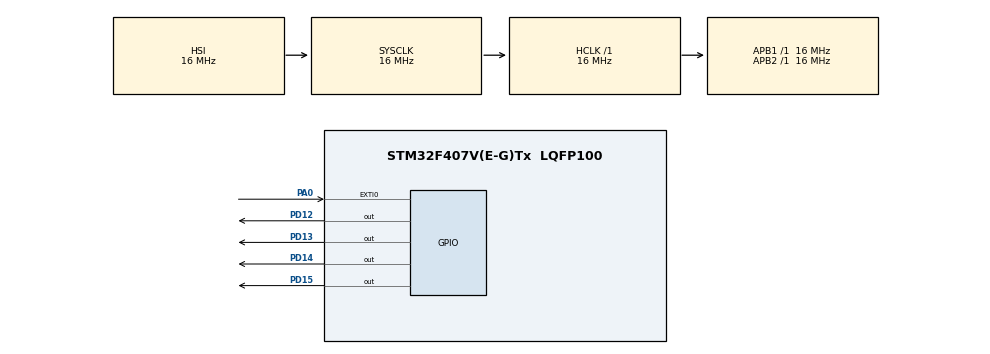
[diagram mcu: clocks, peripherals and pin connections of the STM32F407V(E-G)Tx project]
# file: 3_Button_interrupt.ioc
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Mcu.Family=STM32F4
Mcu.Name=STM32F407V(E-G)Tx
Mcu.Package=LQFP100
NVIC.EXTI0_IRQn=true\:0\:0\:false\:false\:true\:true\:true\:true
NVIC.PriorityGroup=NVIC_PRIORITYGROUP_4
PA0-WKUP.GPIO_PuPd=GPIO_PULLDOWN
PA0-WKUP.Signal=GPXTI0
PA13.Mode=Serial_Wire
PA13.Signal=SYS_JTMS-SWDIO
PA14.Mode=Serial_Wire
PA14.Signal=SYS_JTCK-SWCLK
PD12.GPIO_PuPd=GPIO_PULLDOWN
PD12.Signal=GPIO_Output
PD13.GPIO_PuPd=GPIO_PULLDOWN
PD13.Signal=GPIO_Output
PD14.GPIO_PuPd=GPIO_PULLDOWN
PD14.Signal=GPIO_Output
PD15.GPIO_PuPd=GPIO_PULLDOWN
PD15.Signal=GPIO_Output
PH0-OSC_IN.Mode=HSE-External-Oscillator
PH0-OSC_IN.Signal=RCC_OSC_IN
PH1-OSC_OUT.Mode=HSE-External-Oscillator
PH1-OSC_OUT.Signal=RCC_OSC_OUT
ProjectManager.HeapSize=0x200
ProjectManager.StackSize=0x400
ProjectManager.TargetToolchain=STM32CubeIDE
RCC.AHBFreq_Value=16000000
RCC.APB1Freq_Value=16000000
RCC.APB2Freq_Value=16000000
RCC.CortexFreq_Value=16000000
RCC.HSE_VALUE=25000000
RCC.HSI_VALUE=16000000
RCC.LSE_VALUE=32768
RCC.SYSCLKFreq_VALUE=16000000
RCC.VCOOutputFreq_Value=192000000
board=custom

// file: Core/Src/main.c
/* USER CODE BEGIN Header */
/**
  ******************************************************************************
  * @file           : main.c
  * @brief          : Main program body
  ******************************************************************************
  * @attention
  *
  * Copyright (c) 2024 STMicroelectronics.
  * All rights reserved.
  *
  * This software is licensed under terms that can be found in the LICENSE file
  * in the root directory of this software component.
  * If no LICENSE file comes with this software, it is provided AS-IS.
  *
  ******************************************************************************
  */
/* USER CODE END Header */
#include "main.h"

/* USER CODE BEGIN PM */
uint8_t data;

/* USER CODE END PM */

void SystemClock_Config(void);
static void MX_GPIO_Init(void);

int main(void)
{

  /* MCU Configuration--------------------------------------------------------*/

  /* Reset of all peripherals, Initializes the Flash interface and the Systick. */
  HAL_Init();

  /* Configure the system clock */
  SystemClock_Config();

  /* Initialize all configured peripherals */
  MX_GPIO_Init();

  /* Infinite loop */
  while (1)
  {

  }
}

void SystemClock_Config(void)
{
  RCC_OscInitTypeDef RCC_OscInitStruct = {0};
  RCC_ClkInitTypeDef RCC_ClkInitStruct = {0};

  /** Configure the main internal regulator output voltage
  */
  __HAL_RCC_PWR_CLK_ENABLE();
  __HAL_PWR_VOLTAGESCALING_CONFIG(PWR_REGULATOR_VOLTAGE_SCALE1);

  /** Initializes the RCC Oscillators according to the specified parameters
  * in the RCC_OscInitTypeDef structure.
  */
  RCC_OscInitStruct.OscillatorType = RCC_OSCILLATORTYPE_HSI;
  RCC_OscInitStruct.HSIState = RCC_HSI_ON;
  RCC_OscInitStruct.HSICalibrationValue = RCC_HSICALIBRATION_DEFAULT;
  RCC_OscInitStruct.PLL.PLLState = RCC_PLL_NONE;
  if (HAL_RCC_OscConfig(&RCC_OscInitStruct) != HAL_OK)
  {
    Error_Handler();
  }

  /** Initializes the CPU, AHB and APB buses clocks
  */
  RCC_ClkInitStruct.ClockType = RCC_CLOCKTYPE_HCLK|RCC_CLOCKTYPE_SYSCLK
                              |RCC_CLOCKTYPE_PCLK1|RCC_CLOCKTYPE_PCLK2;
  RCC_ClkInitStruct.SYSCLKSource = RCC_SYSCLKSOURCE_HSI;
  RCC_ClkInitStruct.AHBCLKDivider = RCC_SYSCLK_DIV1;
  RCC_ClkInitStruct.APB1CLKDivider = RCC_HCLK_DIV1;
  RCC_ClkInitStruct.APB2CLKDivider = RCC_HCLK_DIV1;

  if (HAL_RCC_ClockConfig(&RCC_ClkInitStruct, FLASH_LATENCY_0) != HAL_OK)
  {
    Error_Handler();
  }
}

static void MX_GPIO_Init(void)
{
  GPIO_InitTypeDef GPIO_InitStruct = {0};

  /* GPIO Ports Clock Enable */
  __HAL_RCC_GPIOH_CLK_ENABLE();
  __HAL_RCC_GPIOA_CLK_ENABLE();
  __HAL_RCC_GPIOD_CLK_ENABLE();

  /*Configure GPIO pin Output Level */
  HAL_GPIO_WritePin(GPIOD, GPIO_PIN_12|GPIO_PIN_13|GPIO_PIN_14|GPIO_PIN_15, GPIO_PIN_RESET);

  /*Configure GPIO pin : PA0 */
  GPIO_InitStruct.Pin = GPIO_PIN_0;
  GPIO_InitStruct.Mode = GPIO_MODE_IT_RISING;
  GPIO_InitStruct.Pull = GPIO_PULLDOWN;
  HAL_GPIO_Init(GPIOA, &GPIO_InitStruct);

  /*Configure GPIO pins : PD12 PD13 PD14 PD15 */
  GPIO_InitStruct.Pin = GPIO_PIN_12|GPIO_PIN_13|GPIO_PIN_14|GPIO_PIN_15;
  GPIO_InitStruct.Mode = GPIO_MODE_OUTPUT_PP;
  GPIO_InitStruct.Pull = GPIO_PULLDOWN;
  GPIO_InitStruct.Speed = GPIO_SPEED_FREQ_LOW;
  HAL_GPIO_Init(GPIOD, &GPIO_InitStruct);

  /* EXTI interrupt init*/
  HAL_NVIC_SetPriority(EXTI0_IRQn, 0, 0);
  HAL_NVIC_EnableIRQ(EXTI0_IRQn);

}

void Error_Handler(void)
{
  __disable_irq();
  while (1)
  {
  }
}

#ifdef  USE_FULL_ASSERT
/**
  * @brief  Reports the name of the source file and the source line number
  *         where the assert_param error has occurred.
  * @param  file: pointer to the source file name
  * @param  line: assert_param error line source number
  * @retval None
  */
void assert_failed(uint8_t *file, uint32_t line)
{
}

void EXTI0_IRQHandler(void)
{
  /* USER CODE BEGIN EXTI0_IRQn 0 */
  data = HAL_GPIO_ReadPin(GPIOA, GPIO_PIN_0);
  while(data){
	  data = HAL_GPIO_ReadPin(GPIOA, GPIO_PIN_0);}

  counter++;
  switch(counter){

  	  case 0:

  	  	  led1_on;
  	  	  led2_off;
  	  	  led3_off;
  	  	  led4_off;
  	  	  break;

  	  case 1:

  		  led2_on;
  		  led1_off;
  	  	  led3_off;
   	  	  led4_off;
   	  	  break;

  	  case 2:

  		  led3_on;
  		  led2_off;
  	  	  led1_off;
   	  	  led4_off;
  	  	  break;

  	  case 3:
  		  led1_off;
  		  led2_off;
  	  	  led3_off;
  	  	  led4_on;
  	  	  break;

  	  default:
  		  counter = 0;
  		  break;
  }

  /* USER CODE END EXTI0_IRQn 0 */
  HAL_GPIO_EXTI_IRQHandler(GPIO_PIN_0);
}

#endif /* USE_FULL_ASSERT */
